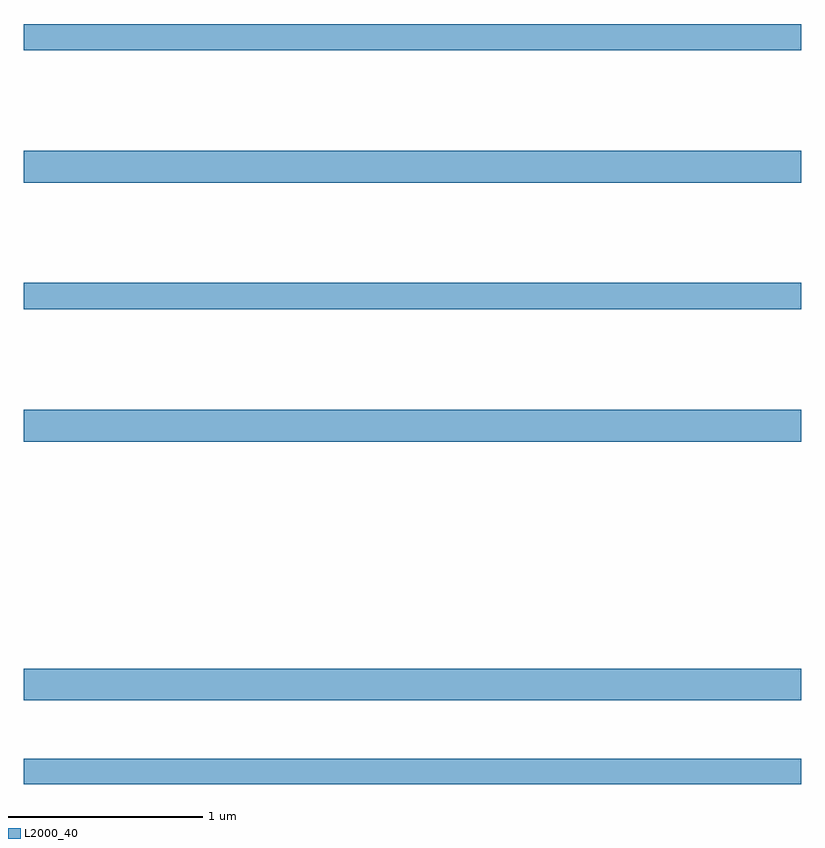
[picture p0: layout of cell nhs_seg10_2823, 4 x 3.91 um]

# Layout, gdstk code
import gdstk
lib = gdstk.Library(unit=1e-6, precision=1e-09)
def R(c, l, rs):  # rectangles x0, y0, x1, y1
    for r in rs: c.add(gdstk.rectangle(r[:2], r[2:], *l))
def A(c, l, x, y, w, h, nx, ny, dx, dy):  # array of equal rectangles
    R(c, l, [(x+i*dx, y+j*dy, x+i*dx+w, y+j*dy+h) for i in range(nx) for j in range(ny)])
L2000_40 = (2000, 40)

nhs_seg10_2823 = lib.new_cell('nhs_seg10_2823')
A(nhs_seg10_2823, L2000_40, 263, 1322.96, 4, 0.164, 1, 3, 0, 1.332)
R(nhs_seg10_2823, L2000_40, [(263,1322.53,267,1322.659), (263,1324.972,267,1325.108), (263,1326.304,267,1326.44)])

lib.write_gds('nhs_seg10_2823.gds')
